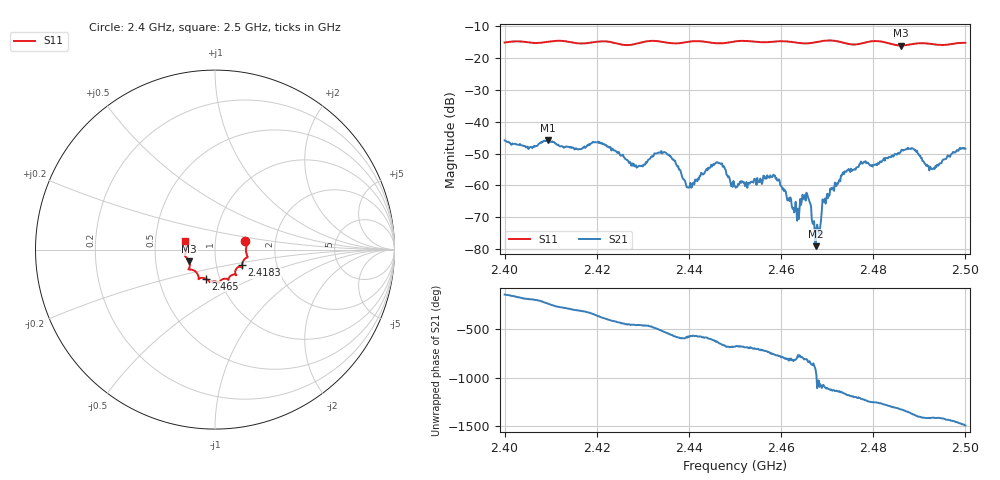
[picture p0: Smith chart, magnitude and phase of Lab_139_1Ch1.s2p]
# Hz S RI R 50
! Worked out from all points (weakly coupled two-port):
!   601 points, 2.4 GHz to 2.5 GHz, reference 50 ohm
!   highest |S21| = -45.80 dB at 2.4093 GHz (marker M1); lowest = -79.1 dB at 2.4675 GHz (marker M2)
!   lowest |S11| = -16.1 dB at 2.486 GHz (marker M3), VSWR 1.37, Z = 37.2 - j4.97 ohm
!   |S11| at or under -10 dB: start of sweep to end of sweep
!   S12 and S22 are empty: the file has one direction only
!   S11 on the Smith chart (normalised r, x): 2.4 GHz: 1.40, +0.13; 2.4183 GHz: 1.33, -0.24; 2.465 GHz: 0.86, -0.29; 2.5 GHz: 0.71, +0.07
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2.4e9  0.1691 0.0459  -0.00413 -0.00297  0 0  0 0
2.409333e9  0.1773 -0.03  -0.00281 0.00429  0 0  0 0
2.416667e9  0.1549 -0.0682  0.00254 0.00273  0 0  0 0
2.418333e9  0.1498 -0.0871  0.00383 0.00222  0 0  0 0
2.428667e9  0.1126 -0.1256  -0.000335 -0.00187  0 0  0 0
2.433333e9  0.1175 -0.1409  -0.00259 -0.00199  0 0  0 0
2.4365e9  0.0949 -0.1416  -0.00229 0.00108  0 0  0 0
2.44e9  0.0758 -0.1637  -0.000669 0.000634  0 0  0 0
2.446167e9  0.0515 -0.1626  0.000103 0.00232  0 0  0 0
2.45e9  0.0255 -0.1809  0.000757 0.000606  0 0  0 0
2.4585e9  -0.0209 -0.1798  0.00109 -0.000943  0 0  0 0
2.463333e9  -0.0376 -0.1709  1.86e-05 -0.000401  0 0  0 0
2.465e9  -0.0524 -0.1618  -3.57e-05 -0.000664  0 0  0 0
2.466667e9  -0.0713 -0.1573  -0.000244 -0.000161  0 0  0 0
2.4675e9  -0.0796 -0.158  -0.000104 3.9e-05  0 0  0 0
2.4695e9  -0.0912 -0.1636  0.000579 -0.000227  0 0  0 0
2.4735e9  -0.0925 -0.1478  0.000273 -0.00159  0 0  0 0
2.483333e9  -0.1415 -0.0964  -0.00237 0.00146  0 0  0 0
2.486e9  -0.1433 -0.0652  -0.00129 0.00316  0 0  0 0
2.489e9  -0.1628 -0.041  0.00213 0.00284  0 0  0 0
2.492667e9  -0.1648 -0.0231  0.00165 0.000759  0 0  0 0
2.5e9  -0.167 0.0469  0.00222 -0.00304  0 0  0 0
